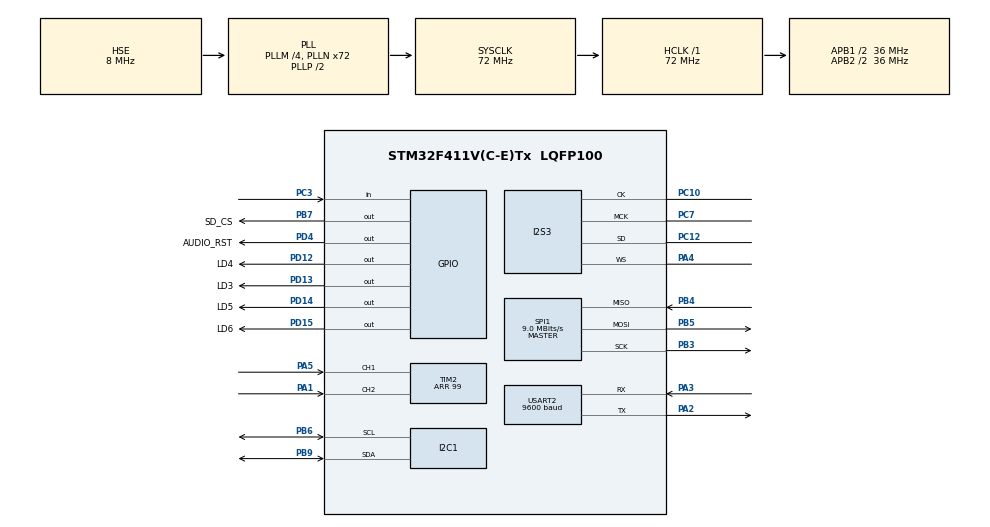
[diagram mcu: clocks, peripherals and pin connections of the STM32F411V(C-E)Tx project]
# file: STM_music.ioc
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Dma.Request0=SPI3_TX
Dma.Request1=USART2_RX
Dma.Request2=USART2_TX
Dma.SPI3_TX.0.Direction=DMA_MEMORY_TO_PERIPH
Dma.SPI3_TX.0.FIFOMode=DMA_FIFOMODE_DISABLE
Dma.SPI3_TX.0.Instance=DMA1_Stream5
Dma.SPI3_TX.0.MemDataAlignment=DMA_MDATAALIGN_HALFWORD
Dma.SPI3_TX.0.MemInc=DMA_MINC_ENABLE
Dma.SPI3_TX.0.Mode=DMA_NORMAL
Dma.SPI3_TX.0.PeriphDataAlignment=DMA_PDATAALIGN_HALFWORD
Dma.SPI3_TX.0.PeriphInc=DMA_PINC_DISABLE
Dma.SPI3_TX.0.Priority=DMA_PRIORITY_LOW
Dma.USART2_RX.1.Direction=DMA_PERIPH_TO_MEMORY
Dma.USART2_RX.1.FIFOMode=DMA_FIFOMODE_DISABLE
Dma.USART2_RX.1.Instance=DMA1_Stream7
Dma.USART2_RX.1.MemDataAlignment=DMA_MDATAALIGN_BYTE
Dma.USART2_RX.1.MemInc=DMA_MINC_ENABLE
Dma.USART2_RX.1.Mode=DMA_NORMAL
Dma.USART2_RX.1.PeriphDataAlignment=DMA_PDATAALIGN_BYTE
Dma.USART2_RX.1.PeriphInc=DMA_PINC_DISABLE
Dma.USART2_RX.1.Priority=DMA_PRIORITY_VERY_HIGH
Dma.USART2_TX.2.Direction=DMA_MEMORY_TO_PERIPH
Dma.USART2_TX.2.FIFOMode=DMA_FIFOMODE_DISABLE
Dma.USART2_TX.2.Instance=DMA1_Stream6
Dma.USART2_TX.2.MemDataAlignment=DMA_MDATAALIGN_BYTE
Dma.USART2_TX.2.MemInc=DMA_MINC_ENABLE
Dma.USART2_TX.2.Mode=DMA_NORMAL
Dma.USART2_TX.2.PeriphDataAlignment=DMA_PDATAALIGN_BYTE
Dma.USART2_TX.2.PeriphInc=DMA_PINC_DISABLE
Dma.USART2_TX.2.Priority=DMA_PRIORITY_VERY_HIGH
FATFS._MAX_SS=4096
FATFS._USE_LFN=2
FREERTOS.Tasks01=musicTask,8,2560,StartMusicTask,Default,NULL,Dynamic,NULL,NULL;controlTask,9,128,StartControlTask,Default,NULL,Dynamic,NULL,NULL;uartRxTask,10,128,StartUartRxTask,Default,NULL,Dynamic,NULL,NULL
FREERTOS.configCHECK_FOR_STACK_OVERFLOW=2
FREERTOS.configENABLE_FPU=1
FREERTOS.configTOTAL_HEAP_SIZE=16800
FREERTOS.configUSE_IDLE_HOOK=1
FREERTOS.configUSE_NEWLIB_REENTRANT=1
I2C1.OwnAddress=0x10
I2S3.AudioFreq=I2S_AUDIOFREQ_44K
I2S3.ErrorAudioFreq=0.24 %
I2S3.FullDuplexMode=I2S_FULLDUPLEXMODE_DISABLE
I2S3.Instance=SPI$Index
I2S3.RealAudioFreq=44.108 KHz
I2S3.VirtualMode=I2S_MODE_MASTER
Mcu.Family=STM32F4
Mcu.Name=STM32F411V(C-E)Tx
Mcu.Package=LQFP100
NVIC.DMA1_Stream5_IRQn=true\:5\:0\:true\:false\:true\:true\:false\:true\:true
NVIC.DMA1_Stream6_IRQn=true\:5\:0\:false\:false\:true\:true\:false\:true\:true
NVIC.DMA1_Stream7_IRQn=true\:5\:0\:false\:false\:true\:true\:false\:true\:true
NVIC.I2C1_ER_IRQn=true\:5\:0\:false\:false\:true\:true\:true\:true\:true
NVIC.I2C1_EV_IRQn=true\:5\:0\:false\:false\:true\:true\:true\:true\:true
NVIC.PriorityGroup=NVIC_PRIORITYGROUP_4
NVIC.TIM1_UP_TIM10_IRQn=true\:5\:0\:false\:false\:true\:false\:false\:true\:true
NVIC.TimeBase=TIM1_UP_TIM10_IRQn
NVIC.TimeBaseIP=TIM1
NVIC.USART2_IRQn=true\:5\:0\:false\:false\:true\:true\:true\:true\:true
PA1.Signal=S_TIM2_CH2
PA12.Signal=USART6_RX
PA13.Mode=Serial_Wire
PA13.Signal=SYS_JTMS-SWDIO
PA14.Mode=Serial_Wire
PA14.Signal=SYS_JTCK-SWCLK
PA2.Mode=Asynchronous
PA2.Signal=USART2_TX
PA3.Mode=Asynchronous
PA3.Signal=USART2_RX
PA4.GPIO_Speed=GPIO_SPEED_FREQ_HIGH
PA4.Mode=Half_Duplex_Master
PA4.Signal=I2S3_WS
PA5.Signal=S_TIM2_CH1_ETR
PB3.GPIO_PuPd=GPIO_NOPULL
PB3.Mode=Full_Duplex_Master
PB3.Signal=SPI1_SCK
PB4.GPIO_PuPd=GPIO_NOPULL
PB4.Mode=Full_Duplex_Master
PB4.Signal=SPI1_MISO
PB5.GPIO_PuPd=GPIO_NOPULL
PB5.Mode=Full_Duplex_Master
PB5.Signal=SPI1_MOSI
PB6.Mode=I2C
PB6.Signal=I2C1_SCL
PB7.GPIO_Label=SD_CS
PB7.GPIO_Speed=GPIO_SPEED_FREQ_VERY_HIGH
PB7.Signal=GPIO_Output
PB9.Mode=I2C
PB9.Signal=I2C1_SDA
PC10.GPIO_Speed=GPIO_SPEED_FREQ_HIGH
PC10.Mode=Half_Duplex_Master
PC10.Signal=I2S3_CK
PC12.GPIO_Speed=GPIO_SPEED_FREQ_HIGH
PC12.Mode=Half_Duplex_Master
PC12.Signal=I2S3_SD
PC3.GPIO_PuPd=GPIO_PULLUP
PC3.Signal=GPIO_Input
PC7.GPIO_Speed=GPIO_SPEED_FREQ_HIGH
PC7.Mode=Master_Clock_Activated
PC7.Signal=I2S3_MCK
PD12.GPIO_Label=LD4
PD12.Signal=GPIO_Output
PD13.GPIO_Label=LD3
PD13.Signal=GPIO_Output
PD14.GPIO_Label=LD5
PD14.Signal=GPIO_Output
PD15.GPIO_Label=LD6
PD15.Signal=GPIO_Output
PD4.GPIO_Label=AUDIO_RST
PD4.Signal=GPIO_Output
PH0\ -\ OSC_IN.Mode=HSE-External-Oscillator
PH0\ -\ OSC_IN.Signal=RCC_OSC_IN
PH1\ -\ OSC_OUT.Mode=HSE-External-Oscillator
PH1\ -\ OSC_OUT.Signal=RCC_OSC_OUT
ProjectManager.HeapSize=0x200
ProjectManager.StackSize=0x400
ProjectManager.TargetToolchain=STM32CubeIDE
RCC.48MHZClocksFreq_Value=18000000
RCC.AHBFreq_Value=72000000
RCC.APB1CLKDivider=RCC_HCLK_DIV2
RCC.APB1Freq_Value=36000000
RCC.APB1TimFreq_Value=72000000
RCC.APB2CLKDivider=RCC_HCLK_DIV2
RCC.APB2Freq_Value=36000000
RCC.APB2TimFreq_Value=72000000
RCC.CortexFreq_Value=72000000
RCC.HCLKFreq_Value=72000000
RCC.HSE_VALUE=8000000
RCC.HSI_VALUE=16000000
RCC.LSE_VALUE=32768
RCC.PLLI2SM=6
RCC.PLLI2SN=271
RCC.PLLM=4
RCC.PLLN=72
RCC.PLLQ=8
RCC.PLLSourceVirtual=RCC_PLLSOURCE_HSE
RCC.SYSCLKFreq_VALUE=72000000
RCC.SYSCLKSource=RCC_SYSCLKSOURCE_PLLCLK
RCC.VCOOutputFreq_Value=144000000
SH.S_TIM2_CH1_ETR.0=TIM2_CH1,Encoder_Interface
SH.S_TIM2_CH2.0=TIM2_CH2,Encoder_Interface
SPI1.BaudRatePrescaler=SPI_BAUDRATEPRESCALER_4
SPI1.CalculateBaudRate=9.0 MBits/s
SPI1.Direction=SPI_DIRECTION_2LINES
SPI1.Mode=SPI_MODE_MASTER
SPI1.VirtualType=VM_MASTER
TIM2.ClockDivision=TIM_CLOCKDIVISION_DIV4
TIM2.EncoderMode=TIM_ENCODERMODE_TI1
TIM2.IC1Filter=15
TIM2.IC1Prescaler=TIM_ICPSC_DIV8
TIM2.IC2Filter=15
TIM2.IC2Prescaler=TIM_ICPSC_DIV8
TIM2.Period=99
USART2.BaudRate=9600
USART2.VirtualMode=VM_ASYNC
VP_FATFS_VS_Generic.Mode=User_defined
VP_FREERTOS_VS_CMSIS_V2.Mode=CMSIS_V2
VP_SYS_VS_tim1.Mode=TIM1
board=STM32F411E-DISCO

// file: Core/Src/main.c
/* USER CODE BEGIN Header */
/**
  ******************************************************************************
  * @file           : main.c
  * @brief          : Main program body
  ******************************************************************************
  * @attention
  *
  * Copyright (c) 2024 STMicroelectronics.
  * All rights reserved.
  *
  * This software is licensed under terms that can be found in the LICENSE file
  * in the root directory of this software component.
  * If no LICENSE file comes with this software, it is provided AS-IS.
  *
  ******************************************************************************
  */
/* USER CODE END Header */
#include "main.h"
#include "cmsis_os.h"
#include "dma.h"
#include "fatfs.h"
#include "i2s.h"
#include "spi.h"
#include "tim.h"
#include "usart.h"
#include "gpio.h"

/* USER CODE BEGIN Includes */
#include <stdio.h>
#include <string.h>
#include <stdarg.h> //for va_list var arg functions

#include "Audio.h"
#include "mp3dec.h"
#include "mp3.h"
/* USER CODE END Includes */

/* USER CODE BEGIN PTD */
char RecieveBuffer[2] = "--";
extern bool stop;
int mp3_buffer_counter = 0;
volatile uint8_t audio_volume = 50;
/* USER CODE END PTD */

/* USER CODE BEGIN PD */
#include "mp3.h"
#include <math.h>

#define AUDIO_I2C_ADDR	0x94
#define BUFFER_SIZE		4096

static uint8_t audio_data[2 * BUFFER_SIZE];

//some variables for FatFs
FATFS FatFs; 	//Fatfs handle
FRESULT fres; //Result after operations
FIL file;
/* USER CODE END PD */

/* USER CODE BEGIN PV */
//some variables for FatFs

volatile int			    enum_done = 0;
static volatile uint8_t     audio_is_playing = 0;
extern volatile uint16_t volume;
/* just for test */
extern float                cur_ratio;
char playing_title[34];
uint8_t stop_mp3 = 0;
/* USER CODE END PV */

void SystemClock_Config(void);
void MX_FREERTOS_Init(void);

/* USER CODE BEGIN 0 */

void init_sd(){
	//myprintf("\r\n~ SD card demo by kiwih ~\r\n\r\n");

	  HAL_Delay(1000); //a short delay is important to let the SD card settle

	  //Open the file system
	  fres = f_mount(&FatFs, "", 1); //1=mount now
	  if (fres != FR_OK) {
		myprintf("f_mount error (%i)\r\n", fres);
		while(1);
	  }
}

void deinit_sd(){
	  f_mount(NULL, "", 0);
}

static void AudioCallback(void) {
    audio_is_playing = 0;
}

static uint32_t fd_fetch(void *parameter, uint8_t *buffer, uint32_t length) {
	uint32_t read_bytes = 0;

	f_read((FIL *)parameter, (void *)audio_data, length, (UINT*)&read_bytes);
	memcpy(buffer, audio_data, read_bytes);
	    if (read_bytes <= 0) return 0;

	    return read_bytes;
}
static uint32_t mp3_callback(MP3FrameInfo *header,
                             int16_t *buffer,
                             uint32_t length) {

	while (audio_is_playing == 1);
    audio_is_playing = 1;
	ProvideAudioBuffer(buffer, length);

    return 0;
}

void play_mp3(char* filename) {
    struct mp3_decoder *decoder;

	if (FR_OK == f_open(&file, filename, FA_OPEN_EXISTING | FA_READ)) {
		/* Play mp3 */
		InitializeAudio(Audio44100HzSettings);
		SetAudioVolume(0xCF);
		PlayAudioWithCallback(AudioCallback);

        decoder = mp3_decoder_create();
        if (decoder != NULL) {

            decoder->fetch_data         = fd_fetch;
            decoder->fetch_parameter    = (void *)&file;
            decoder->output_cb          = mp3_callback;

            while (mp3_decoder_run_pvc(decoder) != -1 && stop_mp3 != 1);
            stop_mp3 = 0;
            mp3_decoder_delete(decoder);
            mp3_buffer_counter = 0;
        }

        /* Re-initialize and set volume to avoid noise */
        InitializeAudio(Audio44100HzSettings);
        SetAudioVolume(0);

        /* reset the playing flag */
        audio_is_playing = 0;

        /* Close currently open file */
        f_close(&file);
    }
}

/*
 * play directory
 */
static const char *get_filename_ext(const char *filename) {
    const char *dot = strrchr(filename, '.');
    if (!dot || dot == filename) return "";
    return dot + 1;
}

FRESULT play_directory (const char* path, unsigned char seek) {
	FRESULT     res;
	FILINFO     fno;
	DIR         dir;

    /* This function is assuming non-Unicode cfg. */
	char        *fn;
	char        buffer[200];

	res = f_opendir(&dir, path);
	if (res == FR_OK) {
		for (;;) {

			res = f_readdir(&dir, &fno);

			if (res != FR_OK || fno.fname[0] == 0) break; //break if empty

			if (fno.fname[0] == '.') continue;//found a file

			fn = fno.fname;
//        #endif
			//check if directory
			if (fno.fattrib & AM_DIR) {

			} else {
                /* It is a file. */
				sprintf(buffer,"                                \0");
				sprintf(buffer, "%s/%s", path, fn);

				if (strcmp("mp3", get_filename_ext(buffer)) == 0) {

					if (seek) {
						seek--;
						continue;
					}
					snprintf(playing_title,17, "%s", buffer+1);
					snprintf(playing_title+17,17, "%s", buffer+17);
					myprintf("%s!", playing_title);
					HAL_GPIO_TogglePin(LD4_GPIO_Port, LD4_Pin);
					play_mp3(buffer);
				}
			}
		}
	}

	return res;
}

void myprintf(const char *fmt, ...) {
  static char buffer[512];
  va_list args;
  va_start(args, fmt);
  vsnprintf(buffer, sizeof(buffer), fmt, args);
  va_end(args);
  int len = strlen(buffer);
  HAL_UART_Transmit_DMA(&huart2, (uint8_t*)buffer, len);
}

/* USER CODE END 0 */

int main(void)
{

  /* MCU Configuration--------------------------------------------------------*/

  /* Reset of all peripherals, Initializes the Flash interface and the Systick. */
  HAL_Init();

  /* Configure the system clock */
  SystemClock_Config();

  /* USER CODE BEGIN SysInit */
  /* FPU initialization */
  	//SCB->CPACR |= ((3 << 10*2)|(3 << 11*2));
  /* USER CODE END SysInit */

  /* Initialize all configured peripherals */
  MX_GPIO_Init();
  MX_DMA_Init();
  MX_I2S3_Init();
  MX_I2C1_Init();
  MX_SPI1_Init();
  MX_USART2_UART_Init();
  MX_FATFS_Init();
  MX_TIM2_Init();
  /* USER CODE BEGIN 2 */
  HAL_TIM_Encoder_Start(&htim2, TIM_CHANNEL_ALL);

  InitializePlayDirectory(play_directory);
  /* USER CODE END 2 */

  /* Init scheduler */
  osKernelInitialize();

  /* Call init function for freertos objects (in freertos.c) */
  MX_FREERTOS_Init();

  /* Start scheduler */
  osKernelStart();

  /* We should never get here as control is now taken by the scheduler */
  /* Infinite loop */
  while (1)
  {

  }
}

void SystemClock_Config(void)
{
  RCC_OscInitTypeDef RCC_OscInitStruct = {0};
  RCC_ClkInitTypeDef RCC_ClkInitStruct = {0};

  /** Configure the main internal regulator output voltage
  */
  __HAL_RCC_PWR_CLK_ENABLE();
  __HAL_PWR_VOLTAGESCALING_CONFIG(PWR_REGULATOR_VOLTAGE_SCALE1);

  /** Initializes the RCC Oscillators according to the specified parameters
  * in the RCC_OscInitTypeDef structure.
  */
  RCC_OscInitStruct.OscillatorType = RCC_OSCILLATORTYPE_HSE;
  RCC_OscInitStruct.HSEState = RCC_HSE_ON;
  RCC_OscInitStruct.PLL.PLLState = RCC_PLL_ON;
  RCC_OscInitStruct.PLL.PLLSource = RCC_PLLSOURCE_HSE;
  RCC_OscInitStruct.PLL.PLLM = 4;
  RCC_OscInitStruct.PLL.PLLN = 72;
  RCC_OscInitStruct.PLL.PLLP = RCC_PLLP_DIV2;
  RCC_OscInitStruct.PLL.PLLQ = 8;
  if (HAL_RCC_OscConfig(&RCC_OscInitStruct) != HAL_OK)
  {
    Error_Handler();
  }

  /** Initializes the CPU, AHB and APB buses clocks
  */
  RCC_ClkInitStruct.ClockType = RCC_CLOCKTYPE_HCLK|RCC_CLOCKTYPE_SYSCLK
                              |RCC_CLOCKTYPE_PCLK1|RCC_CLOCKTYPE_PCLK2;
  RCC_ClkInitStruct.SYSCLKSource = RCC_SYSCLKSOURCE_PLLCLK;
  RCC_ClkInitStruct.AHBCLKDivider = RCC_SYSCLK_DIV1;
  RCC_ClkInitStruct.APB1CLKDivider = RCC_HCLK_DIV2;
  RCC_ClkInitStruct.APB2CLKDivider = RCC_HCLK_DIV2;

  if (HAL_RCC_ClockConfig(&RCC_ClkInitStruct, FLASH_LATENCY_2) != HAL_OK)
  {
    Error_Handler();
  }
}

/* USER CODE BEGIN 4 */

void transmitData(){
	HAL_UART_Transmit_DMA(&huart2, playing_title, 1); //unused
}
void recieveData(){
	HAL_UART_Receive_DMA(&huart2, RecieveBuffer, 2);
}

void HAL_UART_RxCpltCallback(UART_HandleTypeDef *huart){
	if(huart->Instance == USART2){
		HAL_GPIO_TogglePin(LD5_GPIO_Port, LD5_Pin);
		  if(RecieveBuffer[0] == 'v'){
			  if(RecieveBuffer[1] == '-' && audio_volume>11){
				  audio_volume-=10;
				  SetAudioVolume((audio_volume*255)/100);
			  }
			  else if(RecieveBuffer[1] == '+' && audio_volume<246){
				  audio_volume+=10;
				  SetAudioVolume((audio_volume*255)/100);
			  }
		  }
		  else if(RecieveBuffer[0] == 's'){
			  stop=!stop;
		  }
		  else{
			  myprintf("No such command!\n\r");
		  }
	}
}
void HAL_UART_TxCpltCallback(UART_HandleTypeDef *huart){
	if(huart->Instance == USART2){
		HAL_GPIO_TogglePin(LD4_GPIO_Port, LD4_Pin);
	}
}

/* USER CODE END 4 */

void HAL_TIM_PeriodElapsedCallback(TIM_HandleTypeDef *htim)
{
  if (htim->Instance == TIM1) {
    HAL_IncTick();
  }
}

void Error_Handler(void)
{
  __disable_irq();
  while (1)
  {
  }
}

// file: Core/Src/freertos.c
/* USER CODE BEGIN Header */
/**
  ******************************************************************************
  * File Name          : freertos.c
  * Description        : Code for freertos applications
  ******************************************************************************
  * @attention
  *
  * Copyright (c) 2022 STMicroelectronics.
  * All rights reserved.
  *
  * This software is licensed under terms that can be found in the LICENSE file
  * in the root directory of this software component.
  * If no LICENSE file comes with this software, it is provided AS-IS.
  *
  ******************************************************************************
  */
/* USER CODE END Header */

#include "FreeRTOS.h"
#include "task.h"
#include "main.h"
#include "cmsis_os.h"
#include "tim.h"

/* USER CODE BEGIN Includes */
#include "Audio.h"

/* USER CODE END Includes */

/* USER CODE BEGIN Variables */
char buffer[4];
bool stop = 0;
extern volatile uint8_t audio_volume;
/* USER CODE END Variables */
/* Definitions for musicTask */
osThreadId_t musicTaskHandle;
const osThreadAttr_t musicTask_attributes = {
  .name = "musicTask",
  .stack_size = 2560 * 4,
  .priority = (osPriority_t) osPriorityLow,
};
/* Definitions for controlTask */
osThreadId_t controlTaskHandle;
const osThreadAttr_t controlTask_attributes = {
  .name = "controlTask",
  .stack_size = 128 * 4,
  .priority = (osPriority_t) osPriorityLow1,
};
/* Definitions for uartRxTask */
osThreadId_t uartRxTaskHandle;
const osThreadAttr_t uartRxTask_attributes = {
  .name = "uartRxTask",
  .stack_size = 128 * 4,
  .priority = (osPriority_t) osPriorityLow2,
};

/* USER CODE BEGIN FunctionPrototypes */
void InitializePlayDirectory(PlayDirectoryFunction *fcn){
	//play_directory = fcn;
}
/* USER CODE END FunctionPrototypes */

void StartMusicTask(void *argument);
void StartControlTask(void *argument);
void StartUartRxTask(void *argument);

void MX_FREERTOS_Init(void); /* (MISRA C 2004 rule 8.1) */

/* Hook prototypes */
void vApplicationIdleHook(void);
void vApplicationStackOverflowHook(xTaskHandle xTask, signed char *pcTaskName);

/* USER CODE BEGIN 2 */
void vApplicationIdleHook( void )
{
   /* vApplicationIdleHook() will only be called if configUSE_IDLE_HOOK is set
   to 1 in FreeRTOSConfig.h. It will be called on each iteration of the idle
   task. It is essential that code added to this hook function never attempts
   to block in any way (for example, call xQueueReceive() with a block time
   specified, or call vTaskDelay()). If the application makes use of the
   vTaskDelete() API function (as this demo application does) then it is also
   important that vApplicationIdleHook() is permitted to return to its calling
   function, because it is the responsibility of the idle task to clean up
   memory allocated by the kernel to any task that has since been deleted. */
}
/* USER CODE END 2 */

/* USER CODE BEGIN 4 */
void vApplicationStackOverflowHook(xTaskHandle xTask, signed char *pcTaskName)
{
   /* Run time stack overflow checking is performed if
   configCHECK_FOR_STACK_OVERFLOW is defined to 1 or 2. This hook function is
   called if a stack overflow is detected. */
	HAL_GPIO_TogglePin(GPIOD, GPIO_PIN_14);
}
/* USER CODE END 4 */

void MX_FREERTOS_Init(void) {

  /* USER CODE BEGIN RTOS_SEMAPHORES */
  /* add semaphores, ... */
//  SemaphoreHandle_t xPlayPauseSemaphore;
  /* USER CODE END RTOS_SEMAPHORES */

  /* Create the thread(s) */
  /* creation of musicTask */
  musicTaskHandle = osThreadNew(StartMusicTask, NULL, &musicTask_attributes);

  /* creation of controlTask */
  controlTaskHandle = osThreadNew(StartControlTask, NULL, &controlTask_attributes);

  /* creation of uartRxTask */
  uartRxTaskHandle = osThreadNew(StartUartRxTask, NULL, &uartRxTask_attributes);

}

void StartMusicTask(void *argument)
{
  /* USER CODE BEGIN StartMusicTask */
  /* Infinite loop */
	  init_sd();
	  for(;;){
		  play_directory("", 0);
		  osDelay(20);
	  }
  /* USER CODE END StartMusicTask */
}

void StartControlTask(void *argument)
{
  /* USER CODE BEGIN StartControlTask */
  /* Infinite loop */
	static volatile uint8_t volume = 50;
	audio_volume = volume;
	htim2.Instance->CNT = volume;
	SetAudioVolume((audio_volume*255)/100);
  for(;;)
  {
	  if(!HAL_GPIO_ReadPin(GPIOC, GPIO_PIN_3)){
	  		  HAL_GPIO_TogglePin(LD6_GPIO_Port, LD6_Pin);
	  		  stop = !stop;
	  }
	  if(stop == 1){
		  vTaskSuspend(musicTaskHandle);
	  }
	  else{
		  vTaskResume(musicTaskHandle);
	  }

	  if(volume != htim2.Instance->CNT){
//		  if(htim2.Instance->CNT >= 1 && htim2.Instance->CNT <= 98)
//		  {}
//		  else htim2.Instance->CNT = volume;
		  audio_volume = htim2.Instance->CNT;
		  volume = htim2.Instance->CNT;
		  SetAudioVolume((audio_volume*255)/100);
		  snprintf(buffer, 4 , "?%2d", audio_volume);
		  myprintf(buffer,4);
		  volume = htim2.Instance->CNT;
		  audio_volume = htim2.Instance->CNT;
	  }
	  osDelay(10);
  }
  /* USER CODE END StartControlTask */
}

void StartUartRxTask(void *argument)
{
  /* USER CODE BEGIN StartUartRxTask */
  /* Infinite loop */
  for(;;)
  {
	  recieveData();
    osDelay(1);
  }
  /* USER CODE END StartUartRxTask */
}
